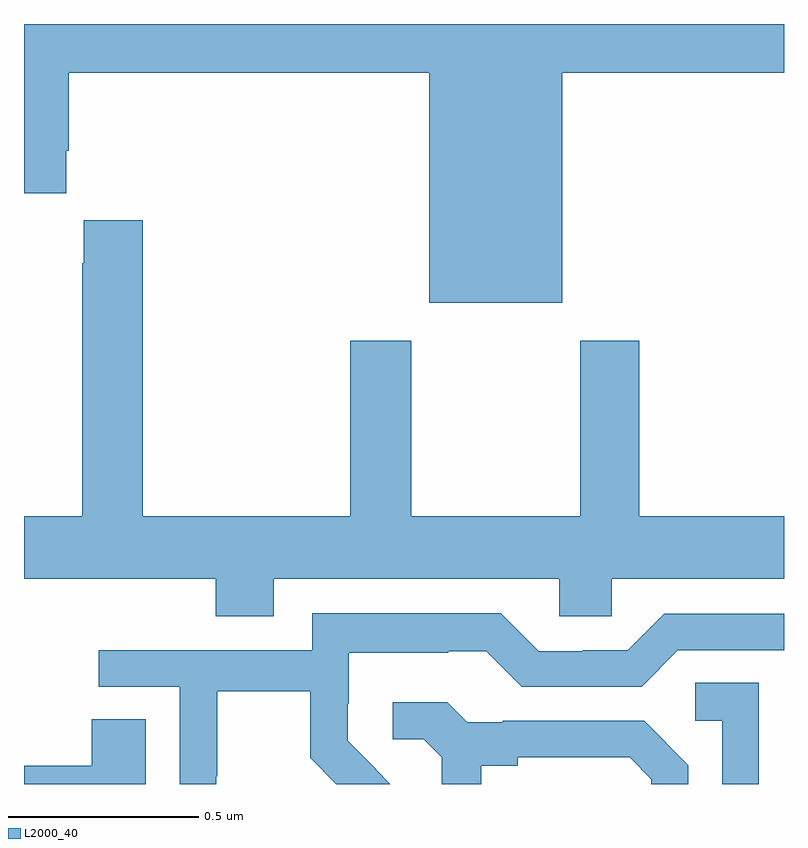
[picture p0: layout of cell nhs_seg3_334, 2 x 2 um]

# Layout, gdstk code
import gdstk
lib = gdstk.Library(unit=1e-6, precision=1e-09)
def P(c, l, *ps):  # polygons
    for p in ps: c.add(gdstk.Polygon(p, *l))
L2000_40 = (2000, 40)

nhs_seg3_334 = lib.new_cell('nhs_seg3_334')
P(nhs_seg3_334, L2000_40, [(116.416,678.272),(117,678.272),(117,678.4),(115,678.4),(115,677.955),(115.111,677.955),(115.111,678.067),(115.118,678.067),(115.118,678.272),(116.066,678.272),(116.066,677.666),(116.416,677.666)],
  [(115.657,676.94),(116.409,676.94),(116.409,676.842),(116.547,676.842),(116.547,676.94),(117,676.94),(117,677.104),(116.619,677.104),(116.619,677.566),(116.464,677.566),(116.464,677.104),(116.019,677.104),(116.019,677.566),(115.859,677.566),(115.859,677.104),(115.313,677.104),(115.313,677.884),(115.157,677.884),(115.157,677.771),(115.153,677.771),(115.153,677.104),(115,677.104),(115,676.94),(115.505,676.94),(115.505,676.841),(115.657,676.841)],
  [(115.506,676.42),(115.509,676.42),(115.509,676.644),(115.753,676.644),(115.753,676.469),(115.822,676.4),(115.964,676.4),(115.925,676.439),(115.926,676.44),(115.852,676.514),(115.852,676.611),(115.854,676.611),(115.854,676.745),(116.117,676.745),(116.117,676.749),(116.217,676.749),(116.31,676.656),(116.625,676.656),(116.721,676.752),(117,676.752),(117,676.848),(116.685,676.848),(116.589,676.752),(116.471,676.752),(116.471,676.749),(116.355,676.749),(116.255,676.849),(115.758,676.849),(115.758,676.752),(115.197,676.752),(115.197,676.656),(115.41,676.656),(115.41,676.4),(115.506,676.4)],
  [(116.934,676.667),(116.766,676.667),(116.766,676.566),(116.838,676.566),(116.838,676.4),(116.934,676.4)],
  [(116.203,676.448),(116.299,676.448),(116.299,676.47),(116.594,676.47),(116.651,676.413),(116.651,676.4),(116.748,676.4),(116.748,676.45),(116.632,676.566),(116.26,676.566),(116.26,676.563),(116.166,676.563),(116.114,676.615),(115.971,676.615),(115.971,676.518),(116.052,676.518),(116.099,676.471),(116.099,676.4),(116.203,676.4)],
  [(115.321,676.571),(115.178,676.571),(115.178,676.448),(115,676.448),(115,676.4),(115.321,676.4)])

lib.write_gds('nhs_seg3_334.gds')
